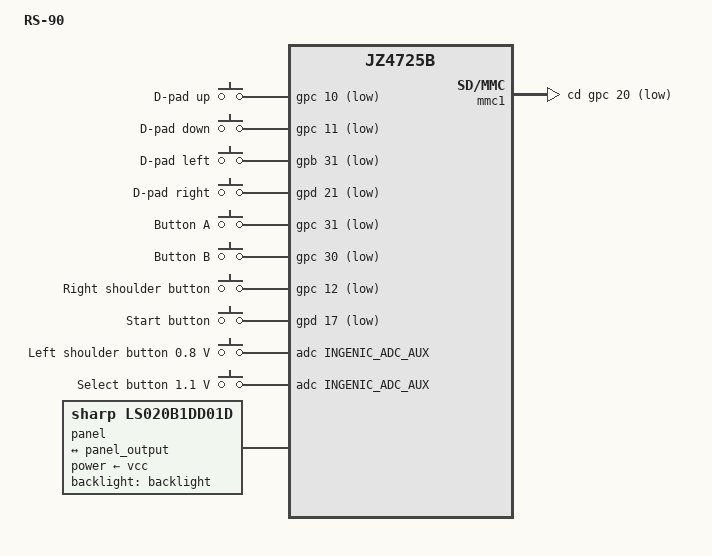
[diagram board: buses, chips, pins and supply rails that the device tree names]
// SPDX-License-Identifier: GPL-2.0
/dts-v1/;

#include "bits/rs90-base.dtsi"

/ {
	compatible = "ylm,rs90", "ingenic,jz4725b";
	model = "RS-90";

	keys@0 {
		compatible = "gpio-keys";

		key-0 {
			label = "D-pad up";
			linux,code = <KEY_UP>;
			gpios = <&gpc 10 GPIO_ACTIVE_LOW>;
		};

		key-1 {
			label = "D-pad down";
			linux,code = <KEY_DOWN>;
			gpios = <&gpc 11 GPIO_ACTIVE_LOW>;
		};

		key-2 {
			label = "D-pad left";
			linux,code = <KEY_LEFT>;
			gpios = <&gpb 31 GPIO_ACTIVE_LOW>;
		};

		key-3 {
			label = "D-pad right";
			linux,code = <KEY_RIGHT>;
			gpios = <&gpd 21 GPIO_ACTIVE_LOW>;
		};

		key-4 {
			label = "Button A";
			linux,code = <KEY_LEFTCTRL>;
			gpios = <&gpc 31 GPIO_ACTIVE_LOW>;
		};

		key-5 {
			label = "Button B";
			linux,code = <KEY_LEFTALT>;
			gpios = <&gpc 30 GPIO_ACTIVE_LOW>;
		};

		key-6 {
			label = "Right shoulder button";
			linux,code = <KEY_BACKSPACE>;
			gpios = <&gpc 12 GPIO_ACTIVE_LOW>;
			debounce-interval = <10>;
		};

		key-7 {
			label = "Start button";
			linux,code = <KEY_ENTER>;
			gpios = <&gpd 17 GPIO_ACTIVE_LOW>;
		};
	};

	keys@1 {
		compatible = "adc-keys";
		io-channels = <&adc INGENIC_ADC_AUX>;
		io-channel-names = "buttons";
		keyup-threshold-microvolt = <1400000>;
		poll-interval = <30>;

		key@0 {
			label = "Left shoulder button";
			linux,code = <KEY_TAB>;
			press-threshold-microvolt = <800000>;
		};

		key@1 {
			label = "Select button";
			linux,code = <KEY_ESC>;
			press-threshold-microvolt = <1100000>;
		};
	};

	panel {
		compatible = "sharp,ls020b1dd01d";

		backlight = <&backlight>;
		power-supply = <&vcc>;

		port {
			panel_input: endpoint {
				remote-endpoint = <&panel_output>;
			};
		};
	};
};

&pins_lcd {
	groups = "lcd-8bit", "lcd-16bit", "lcd-special";
};

&pins_mmc1_cd {
	pins = "PC20";
};

&mmc1 {
	cd-gpios = <&gpc 20 GPIO_ACTIVE_LOW>;
};
